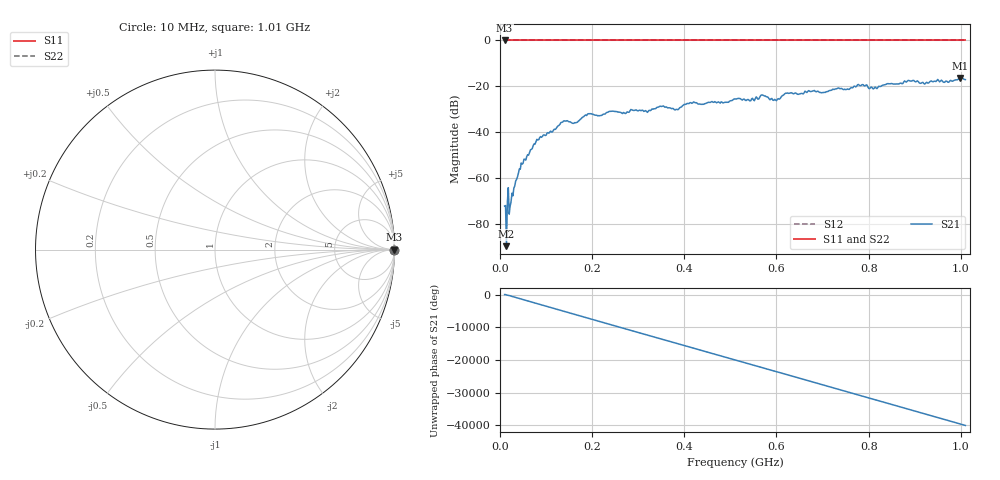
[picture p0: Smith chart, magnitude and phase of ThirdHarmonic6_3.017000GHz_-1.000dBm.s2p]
! 8/17/2025 8:40:22 AM
! C:\ANRITSUVNA\TEMP\TEMP.S2P
! CHANNEL.1
! TR.MEASUREMENT
! RAW.DATA
! RF.CORRECTION.OFF
! AVERAGING.OFF
! IF.BANDWIDTH: 5KHZ
! SWEEPTYPE:  FREQ.SWEEP(Linear)
! Reference Plane Port Info
! PORT:  PORT1  PORT2
! DISTANCE:  0  m  0  m
! TIME:  0  s  0  s
! PHASE.OFFSET:  0  deg.  0  deg.
! LOSS:  0  dB  0  dB
! REF.LOSS:  0  dB  0  dB
! REF.FREQ:  0  Hz  0  Hz
! Power Info
! POWER:  -20  dBm  -20  dBm
! EFF.POWER:  -20  dBm  -20  dBm
! SOURCE.ATTEN:  0  dB  0  dB
! TEST.ATTEN:  0  dB  0  dB
# GHZ S RI R 50.0
! FREQ.GHZ  S11RE  S11IM  S21RE  S21IM  S12RE  S12IM  S22RE  S22IM
!; PortSelection: Port_12
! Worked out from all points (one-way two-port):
!   501 points, 10 MHz to 1.01 GHz, reference 50 ohm
!   highest |S21| = -16.43 dB at 998 MHz (marker M1); lowest = -89.9 dB at 14 MHz (marker M2)
!   lowest |S11| = 0.0 dB at 10 MHz (marker M3)
!   |S11| at or under -10 dB: nowhere
!   |S22| runs from 0.0 to 0.0 dB; largest |S21 - S12| = 1.1
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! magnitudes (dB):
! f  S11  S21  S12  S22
! 10 MHz  0.0  -72.4  0.0  0.0
! 14 MHz  0.0  -89.9  0.0  0.0
! 24 MHz  0.0  -70.4  0.0  0.0
! 44 MHz  0.0  -56.3  0.0  0.0
! 78 MHz  0.0  -44.3  0.0  0.0
! 136 MHz  0.0  -35.6  0.0  0.0
! 162 MHz  0.0  -35.9  0.0  0.0
! 178 MHz  0.0  -33.7  0.0  0.0
! 194 MHz  0.0  -32.0  0.0  0.0
! 344 MHz  0.0  -29.1  0.0  0.0
! 382 MHz  0.0  -30.1  0.0  0.0
! 410 MHz  0.0  -27.6  0.0  0.0
! 510 MHz  0.0  -25.5  0.0  0.0
! 570 MHz  0.0  -23.9  0.0  0.0
! 596 MHz  0.0  -25.7  0.0  0.0
! 622 MHz  0.0  -23.1  0.0  0.0
! 678 MHz  0.0  -22.2  0.0  0.0
! 780 MHz  0.0  -19.6  0.0  0.0
! 814 MHz  0.0  -20.4  0.0  0.0
! 844 MHz  0.0  -18.9  0.0  0.0
! 998 MHz  0.0  -16.4  0.0  0.0
! 1.01 GHz  0.0  -17.1  0.0  0.0
